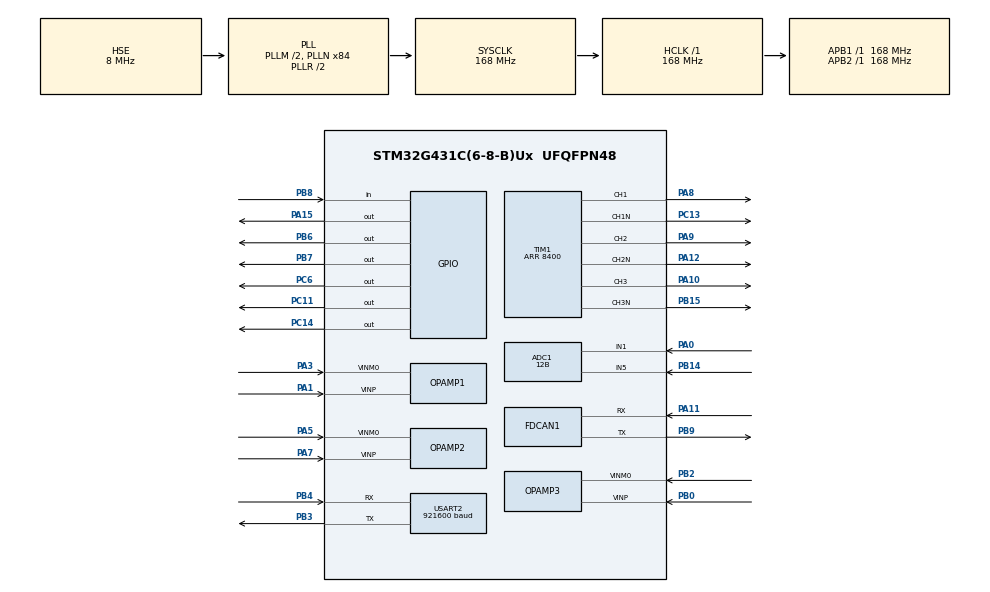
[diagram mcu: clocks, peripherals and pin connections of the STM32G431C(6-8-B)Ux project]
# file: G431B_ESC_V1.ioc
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ADC1.Channel-2\#ChannelRegularConversion=ADC_CHANNEL_VOPAMP1
ADC1.Channel-3\#ChannelRegularConversion=ADC_CHANNEL_1
ADC1.Channel-4\#ChannelRegularConversion=ADC_CHANNEL_5
ADC1.ContinuousConvMode=DISABLE
ADC1.DMAContinuousRequests=DISABLE
ADC1.EOCSelection=ADC_EOC_SEQ_CONV
ADC1.EnableInjectedConversion=DISABLE
ADC1.EnableRegularConversion=ENABLE
ADC1.ExternalTrigConv=ADC_SOFTWARE_START
ADC1.Mode=ADC_MODE_INDEPENDENT
ADC1.NbrOfConversion=3
ADC1.NbrOfConversionFlag=1
ADC1.OffsetNumber-2\#ChannelRegularConversion=ADC_OFFSET_NONE
ADC1.OffsetNumber-3\#ChannelRegularConversion=ADC_OFFSET_NONE
ADC1.OffsetNumber-4\#ChannelRegularConversion=ADC_OFFSET_NONE
ADC1.Overrun=ADC_OVR_DATA_OVERWRITTEN
ADC1.Rank-2\#ChannelRegularConversion=1
ADC1.Rank-3\#ChannelRegularConversion=2
ADC1.Rank-4\#ChannelRegularConversion=3
ADC1.Resolution=ADC_RESOLUTION_12B
ADC1.SamplingTime-2\#ChannelRegularConversion=ADC_SAMPLETIME_2CYCLES_5
ADC1.SamplingTime-3\#ChannelRegularConversion=ADC_SAMPLETIME_2CYCLES_5
ADC1.SamplingTime-4\#ChannelRegularConversion=ADC_SAMPLETIME_2CYCLES_5
ADC1.master=1
ADC2.Channel-0\#ChannelRegularConversion=ADC_CHANNEL_VOPAMP2
ADC2.Channel-1\#ChannelRegularConversion=ADC_CHANNEL_VOPAMP3_ADC2
ADC2.ContinuousConvMode=DISABLE
ADC2.DMAContinuousRequests=DISABLE
ADC2.EOCSelection=ADC_EOC_SEQ_CONV
ADC2.EnableInjectedConversion=DISABLE
ADC2.ExternalTrigConv=ADC_SOFTWARE_START
ADC2.NbrOfConversion=2
ADC2.NbrOfConversionFlag=1
ADC2.OffsetNumber-0\#ChannelRegularConversion=ADC_OFFSET_NONE
ADC2.OffsetNumber-1\#ChannelRegularConversion=ADC_OFFSET_NONE
ADC2.Overrun=ADC_OVR_DATA_OVERWRITTEN
ADC2.Rank-0\#ChannelRegularConversion=1
ADC2.Rank-1\#ChannelRegularConversion=2
ADC2.Rank1_Channel=ADC_CHANNEL_VOPAMP2
ADC2.Rank2_Channel=ADC_CHANNEL_VOPAMP3_ADC2
ADC2.SamplingTime-0\#ChannelRegularConversion=ADC_SAMPLETIME_2CYCLES_5
ADC2.SamplingTime-1\#ChannelRegularConversion=ADC_SAMPLETIME_2CYCLES_5
Dma.ADC1.0.Direction=DMA_PERIPH_TO_MEMORY
Dma.ADC1.0.EventEnable=DISABLE
Dma.ADC1.0.Instance=DMA1_Channel1
Dma.ADC1.0.MemDataAlignment=DMA_MDATAALIGN_HALFWORD
Dma.ADC1.0.MemInc=DMA_MINC_ENABLE
Dma.ADC1.0.Mode=DMA_NORMAL
Dma.ADC1.0.PeriphDataAlignment=DMA_PDATAALIGN_HALFWORD
Dma.ADC1.0.PeriphInc=DMA_PINC_DISABLE
Dma.ADC1.0.Polarity=HAL_DMAMUX_REQ_GEN_RISING
Dma.ADC1.0.Priority=DMA_PRIORITY_LOW
Dma.ADC1.0.RequestNumber=1
Dma.ADC1.0.SignalID=NONE
Dma.ADC1.0.SyncEnable=DISABLE
Dma.ADC1.0.SyncPolarity=HAL_DMAMUX_SYNC_NO_EVENT
Dma.ADC1.0.SyncRequestNumber=1
Dma.ADC1.0.SyncSignalID=NONE
Dma.ADC2.1.Direction=DMA_PERIPH_TO_MEMORY
Dma.ADC2.1.EventEnable=DISABLE
Dma.ADC2.1.Instance=DMA1_Channel2
Dma.ADC2.1.MemDataAlignment=DMA_MDATAALIGN_HALFWORD
Dma.ADC2.1.MemInc=DMA_MINC_ENABLE
Dma.ADC2.1.Mode=DMA_NORMAL
Dma.ADC2.1.PeriphDataAlignment=DMA_PDATAALIGN_HALFWORD
Dma.ADC2.1.PeriphInc=DMA_PINC_DISABLE
Dma.ADC2.1.Polarity=HAL_DMAMUX_REQ_GEN_RISING
Dma.ADC2.1.Priority=DMA_PRIORITY_LOW
Dma.ADC2.1.RequestNumber=1
Dma.ADC2.1.SignalID=NONE
Dma.ADC2.1.SyncEnable=DISABLE
Dma.ADC2.1.SyncPolarity=HAL_DMAMUX_SYNC_NO_EVENT
Dma.ADC2.1.SyncRequestNumber=1
Dma.ADC2.1.SyncSignalID=NONE
Dma.Request0=ADC1
Dma.Request1=ADC2
FDCAN1.AutoRetransmission=ENABLE
FDCAN1.ClockDivider=FDCAN_CLOCK_DIV4
FDCAN1.NominalPrescaler=3
FDCAN1.NominalTimeSeg1=11
FDCAN1.StdFiltersNbr=1
FDCAN1.TransmitPause=ENABLE
Mcu.Family=STM32G4
Mcu.Name=STM32G431C(6-8-B)Ux
Mcu.Package=UFQFPN48
NVIC.DMA1_Channel1_IRQn=true\:0\:0\:false\:false\:true\:false\:true\:true
NVIC.DMA1_Channel2_IRQn=true\:0\:0\:false\:false\:true\:false\:true\:true
NVIC.PriorityGroup=NVIC_PRIORITYGROUP_4
NVIC.TIM1_UP_TIM16_IRQn=true\:0\:0\:false\:false\:true\:true\:true\:true
NVIC.USART2_IRQn=true\:0\:0\:false\:false\:true\:true\:true\:true
OPAMP1.PgaGain=OPAMP_PGA_GAIN_16_OR_MINUS_15
OPAMP1.PowerMode=OPAMP_POWERMODE_HIGHSPEED
OPAMP2.PgaGain=OPAMP_PGA_GAIN_16_OR_MINUS_15
OPAMP2.PowerMode=OPAMP_POWERMODE_HIGHSPEED
OPAMP3.PgaGain=OPAMP_PGA_GAIN_16_OR_MINUS_15
OPAMP3.PowerMode=OPAMP_POWERMODE_HIGHSPEED
PA0.Mode=IN1-Single-Ended
PA0.Signal=ADC1_IN1
PA1.Mode=PGA Internally connected_IO0_BIAS
PA1.Signal=OPAMP1_VINP
PA10.Signal=S_TIM1_CH3
PA11.Mode=FDCAN_Activate
PA11.Signal=FDCAN1_RX
PA12.Mode=PWM Generation2 CH2 CH2N
PA12.Signal=TIM1_CH2N
PA15.Signal=GPIO_Output
PA3.Mode=PGA Internally connected_IO0_BIAS
PA3.Signal=OPAMP1_VINM0
PA5.Mode=PGA Internally connected_IO0_BIAS
PA5.Signal=OPAMP2_VINM0
PA7.Mode=PGA Internally connected_IO0_BIAS
PA7.Signal=OPAMP2_VINP
PA8.Signal=S_TIM1_CH1
PA9.Signal=S_TIM1_CH2
PB0.Mode=PGA Internally connected_IO0_BIAS
PB0.Signal=OPAMP3_VINP
PB14.Mode=IN5-Single-Ended
PB14.Signal=ADC1_IN5
PB15.Mode=PWM Generation3 CH3 CH3N
PB15.Signal=TIM1_CH3N
PB2.Mode=PGA Internally connected_IO0_BIAS
PB2.Signal=OPAMP3_VINM0
PB3.Mode=Asynchronous
PB3.Signal=USART2_TX
PB4.Mode=Asynchronous
PB4.Signal=USART2_RX
PB6.Signal=GPIO_Output
PB7.Signal=GPIO_Output
PB8-BOOT0.Signal=GPIO_Input
PB9.Mode=FDCAN_Activate
PB9.Signal=FDCAN1_TX
PC11.Signal=GPIO_Output
PC13.Mode=PWM Generation1 CH1 CH1N
PC13.Signal=TIM1_CH1N
PC14-OSC32_IN.Signal=GPIO_Output
PC6.Signal=GPIO_Output
PF0-OSC_IN.Mode=HSE-External-Oscillator
PF0-OSC_IN.Signal=RCC_OSC_IN
PF1-OSC_OUT.Mode=HSE-External-Oscillator
PF1-OSC_OUT.Signal=RCC_OSC_OUT
ProjectManager.HeapSize=0x200
ProjectManager.StackSize=0x400
ProjectManager.TargetToolchain=STM32CubeIDE
RCC.ADC12Freq_Value=168000000
RCC.AHBFreq_Value=168000000
RCC.APB1Freq_Value=168000000
RCC.APB1TimFreq_Value=168000000
RCC.APB2Freq_Value=168000000
RCC.APB2TimFreq_Value=168000000
RCC.CortexFreq_Value=168000000
RCC.EXTERNAL_CLOCK_VALUE=12288000
RCC.HCLKFreq_Value=168000000
RCC.HSE_VALUE=8000000
RCC.HSI48_VALUE=48000000
RCC.HSI_VALUE=16000000
RCC.LSE_VALUE=32768
RCC.PLLM=RCC_PLLM_DIV2
RCC.PLLN=84
RCC.PLLSourceVirtual=RCC_PLLSOURCE_HSE
RCC.SYSCLKFreq_VALUE=168000000
RCC.SYSCLKSource=RCC_SYSCLKSOURCE_PLLCLK
RCC.USBFreq_Value=168000000
RCC.VCOOutputFreq_Value=336000000
SH.S_TIM1_CH1.0=TIM1_CH1,PWM Generation1 CH1 CH1N
SH.S_TIM1_CH2.0=TIM1_CH2,PWM Generation2 CH2 CH2N
SH.S_TIM1_CH3.0=TIM1_CH3,PWM Generation3 CH3 CH3N
TIM1.AutoReloadPreload=TIM_AUTORELOAD_PRELOAD_ENABLE
TIM1.Channel-PWM\ Generation1\ CH1\ CH1N=TIM_CHANNEL_1
TIM1.Channel-PWM\ Generation2\ CH2\ CH2N=TIM_CHANNEL_2
TIM1.Channel-PWM\ Generation3\ CH3\ CH3N=TIM_CHANNEL_3
TIM1.CounterMode=TIM_COUNTERMODE_CENTERALIGNED1
TIM1.DeadTime=100
TIM1.DeadTimePreload=ENABLE
TIM1.OC2Preload_PWM=ENABLE
TIM1.OCFastMode_PWM-PWM\ Generation1\ CH1\ CH1N=TIM_OCFAST_ENABLE
TIM1.OCFastMode_PWM-PWM\ Generation2\ CH2\ CH2N=TIM_OCFAST_ENABLE
TIM1.OCFastMode_PWM-PWM\ Generation3\ CH3\ CH3N=TIM_OCFAST_ENABLE
TIM1.OCMode_PWM-PWM\ Generation1\ CH1\ CH1N=TIM_OCMODE_PWM1
TIM1.OCMode_PWM-PWM\ Generation2\ CH2\ CH2N=TIM_OCMODE_PWM1
TIM1.OCMode_PWM-PWM\ Generation3\ CH3\ CH3N=TIM_OCMODE_PWM1
TIM1.OCNPolarity_1=TIM_OCNPOLARITY_LOW
TIM1.OCNPolarity_2=TIM_OCNPOLARITY_LOW
TIM1.OCNPolarity_3=TIM_OCNPOLARITY_LOW
TIM1.OCPolarity_1=TIM_OCPOLARITY_LOW
TIM1.OCPolarity_2=TIM_OCPOLARITY_LOW
TIM1.OCPolarity_3=TIM_OCPOLARITY_LOW
TIM1.OffStateIDLEMode=TIM_OSSI_ENABLE
TIM1.OffStateRunMode=TIM_OSSR_ENABLE
TIM1.PeriodNoDither=8400
TIM1.RepetitionCounter=1
TIM1.TIM_MasterOutputTrigger=TIM_TRGO_RESET
USART2.BaudRate=921600
USART2.VirtualMode-Asynchronous=VM_ASYNC
VP_ADC1_OPAMP_INTERNAL1.Mode=IN-OPAMP1
VP_ADC2_OPAMP_INTERNAL2.Mode=IN-OPAMP2
VP_ADC2_OPAMP_INTERNAL3.Mode=IN-OPAMP3
VP_SYS_VS_DBSignals.Mode=DisableDeadBatterySignals
VP_TIM1_VS_ClockSourceINT.Mode=Internal
board=custom

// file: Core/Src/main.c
/* USER CODE BEGIN Header */
/**
  ******************************************************************************
  * @file           : main.c
  * @brief          : Main program body
  ******************************************************************************
  * @attention
  *
  * <h2><center>&copy; Copyright (c) 2023 STMicroelectronics.
  * All rights reserved.</center></h2>
  *
  * This software component is licensed by ST under BSD 3-Clause license,
  * the "License"; You may not use this file except in compliance with the
  * License. You may obtain a copy of the License at:
  *                        opensource.org/licenses/BSD-3-Clause
  *
  ******************************************************************************
  */
/* USER CODE END Header */
#include "main.h"
#include "adc.h"
#include "dma.h"
#include "fdcan.h"
#include "opamp.h"
#include "tim.h"
#include "usart.h"
#include "gpio.h"

/* USER CODE BEGIN Includes */
#include <stdio.h>
#include <string.h>
#include "user_config.h"
#include "hw_config.h"
#include "structs.h"
#include "position_sensor.h"
#include "fsm.h"
#include "gatedrive.h"
#include "foc.h"
#include "math_ops.h"
#include "calibration.h"
/* USER CODE END Includes */

/* USER CODE BEGIN PM */
#define VERSION_NUM 1.0f
/* USER CODE END PM */

/* USER CODE BEGIN PV */
/* Structs for control, etc */

ControllerStruct controller;
ObserverStruct observer;
COMStruct com;
FSMStruct state;
EncoderStruct comm_encoder;
CalStruct comm_encoder_cal;
CANTxMessage can_tx;
CANRxMessage can_rx;

ControllerStruct dummy;

/* init but don't allocate calibration arrays */
int *error_array = NULL;
int *lut_array = NULL;

uint8_t Serial2RxBuffer[1];
float __float_reg[FLOAT_REG_LEN];
int __int_reg[INT_REG_LEN];
/* USER CODE END PV */

void SystemClock_Config(void);

int main(void)
{

  /* MCU Configuration--------------------------------------------------------*/

  /* Reset of all peripherals, Initializes the Flash interface and the Systick. */
  HAL_Init();

  /* Configure the system clock */
  SystemClock_Config();

  /* USER CODE BEGIN SysInit */
	HAL_Delay(100);
  /* USER CODE END SysInit */

  /* Initialize all configured peripherals */
  MX_GPIO_Init();
  MX_DMA_Init();
  MX_USART2_UART_Init();
  MX_TIM1_Init();
  MX_OPAMP1_Init();
  MX_OPAMP2_Init();
  MX_OPAMP3_Init();
  MX_ADC1_Init();
  MX_ADC2_Init();
  MX_FDCAN1_Init();
  /* USER CODE BEGIN 2 */
	load_eeprom_regs();
	/* Sanitize configs in case flash is empty*/
	if(E_ZERO==-1){E_ZERO = 0;}
	if(isnan(I_BW) || I_BW==-1){I_BW = 1000;}
	if(isnan(I_MAX) || I_MAX ==-1){I_MAX=40;}
	if(isnan(I_FW_MAX) || I_FW_MAX ==-1){I_FW_MAX=0;}
	if(CAN_ID==-1){CAN_ID = 1;}
	if(CAN_MASTER==-1){CAN_MASTER = 0;}
	if(CAN_TIMEOUT==-1){CAN_TIMEOUT = 0;}
	if(isnan(R_NOMINAL) || R_NOMINAL==-1){R_NOMINAL = 0.0f;}
	if(isnan(TEMP_MAX) || TEMP_MAX==-1){TEMP_MAX = 125.0f;}
	if(isnan(I_MAX_CONT) || I_MAX_CONT==-1){I_MAX_CONT = 14.0f;}
	if(isnan(I_CAL)||I_CAL==-1){I_CAL = 5.0f;}
	if(isnan(PPAIRS) || PPAIRS==-1){PPAIRS = 21.0f;}
	if(isnan(GR) || GR==-1){GR = 1.0f;}
	if(isnan(KT) || KT==-1){KT = 1.0f;}
	if(isnan(KP_MAX) || KP_MAX==-1){KP_MAX = 500.0f;}
	if(isnan(KD_MAX) || KD_MAX==-1){KD_MAX = 5.0f;}
	if(isnan(P_MAX)){P_MAX = 12.5f;}
	if(isnan(P_MIN)){P_MIN = -12.5f;}
	if(isnan(V_MAX)){V_MAX = 200.0f;}
	if(isnan(V_MIN)){V_MIN = -200.0f;}
	if(isnan(MECH_ZERO)){MECH_ZERO = 0.0f;}
	if(isnan(T_MAX)){T_MAX = 10.0f;}

	printf("\r\nFirmware Version Number: %.2f\r\n", VERSION_NUM);
	/* Controller Setup */
	init_controller_params(&controller);

	/* calibration "encoder" zeroing */
	memset(&comm_encoder_cal.cal_position, 0, sizeof(EncoderStruct));

	/* commutation encoder setup */
	comm_encoder.e_zero = E_ZERO;
	comm_encoder.ppairs = PPAIRS;
	comm_encoder.mech_zero = MECH_ZERO;
	ps_warmup(&comm_encoder, 100);			// clear the noisy data when the encoder first turns on
	ps_sample(&comm_encoder, DT);
	ps_sample(&comm_encoder, DT);
	ps_sample(&comm_encoder, DT);
	if(comm_encoder.angle_multiturn[0]>PI_F){
	comm_encoder.angle_multiturn[0]-=TWO_PI_F;
	comm_encoder.turns--;
	printf("Added\r\n");
	}
	else if(comm_encoder.angle_multiturn[0]<-PI_F){
	comm_encoder.angle_multiturn[0] += TWO_PI_F;
	comm_encoder.turns++;
	printf("Subtracted\r\n");
	}

	if(EN_ENC_LINEARIZATION){memcpy(&comm_encoder.offset_lut, &ENCODER_LUT, sizeof(comm_encoder.offset_lut));}	// Copy the linearization lookup table
	else{memset(&comm_encoder.offset_lut, 0, sizeof(comm_encoder.offset_lut));}

	/* Turn on ADCs */
	HAL_OPAMP_Start(&hopamp1);
	HAL_OPAMP_Start(&hopamp2);
	HAL_OPAMP_Start(&hopamp3);
	HAL_ADC_Start_DMA(&hadc1, (uint32_t *)controller.ADC1_Val, 2);
	HAL_ADC_Start_DMA(&hadc2, (uint32_t *)controller.ADC2_Val, 2);

	disable_gd(&controller);
	HAL_Delay(10);

	zero_current(&controller);
	HAL_Delay(100);
	printf("ADC A OFFSET: %d     ADC B OFFSET: %d     ADC C OFFSET: %d\r\n", controller.adc_a_offset, controller.adc_b_offset, controller.adc_c_offset);
	printf("Vbus: %f\r\n",controller.v_bus);
	/* Turn on PWM */
	HAL_TIM_PWM_Start(&htim1, TIM_CHANNEL_1);
	HAL_TIM_PWM_Start(&htim1, TIM_CHANNEL_2);
	HAL_TIM_PWM_Start(&htim1, TIM_CHANNEL_3);
	HAL_TIMEx_PWMN_Start(&htim1, TIM_CHANNEL_1);
	HAL_TIMEx_PWMN_Start(&htim1, TIM_CHANNEL_2);
	HAL_TIMEx_PWMN_Start(&htim1, TIM_CHANNEL_3);

//	HAL_TIM_PWM_Start(&htim4, TIM_CHANNEL_1);
//	htim4.Instance->CCR1 = ((htim4.Instance->ARR))*(0.5f);
	HAL_GPIO_WritePin(ENC_SPI_CLK, GPIO_PIN_SET); //CS High
	HAL_GPIO_WritePin(ENC_SPI_CS, GPIO_PIN_SET); //CS High

	disable_gd(&controller);

	/* CAN setup */
	HAL_GPIO_WritePin(CAN_SHDWN, GPIO_PIN_RESET); //Enable CAN
	HAL_GPIO_WritePin(CAN_TERM, GPIO_PIN_RESET ); //Disable CAN termination resistor

	can_rx_init(&can_rx);
	can_tx_init(&can_tx);

	HAL_FDCAN_Start(&CAN_H); //start CAN

	/* Set Interrupt Priorities */
	NVIC_SetPriority(PWM_ISR, 1);

	/* Start the FSM */
	state.state = MENU_MODE;
	state.next_state = MENU_MODE;
	state.ready = 1;

	HAL_UART_Receive_IT(&huart2, (uint8_t *)Serial2RxBuffer, 1);
	HAL_TIM_Base_Start_IT(&htim1);
  /* USER CODE END 2 */

  /* Infinite loop */
  while (1)
  {

    /* USER CODE BEGIN 3 */
//	printf("A:%f B:%f C:%f V:%f \r\n",controller.i_a, controller.i_b, controller.i_c, controller.v_bus);
//	  printf("%f %f\r\n",controller.i_q, controller.i_q_des);
		static float const R60 = 4700.0f; // ohm
		static float const eps = 0.1f; // epsilon (avoid divide by zero)
		float const R_NTC = R60*(4096.0f/(controller.ADC1_Val[2]+eps)-1.0f); // 10kohm NTC at 25°C
		static float const Beta = 3455.0f; // for a 10k NTC
		static float const Kelvin = 273.15f; //°C
		static float const T0 = 273.15f + 25.0f;
		static float const R0 = 10000.0f; // 10kohm at 25° for 10k NTC
		float const present_temperature_K = Beta * T0 / ( Beta - T0*logf(R0/R_NTC) );
		controller.fet_temp_C = present_temperature_K-Kelvin;
//		printf("%f\r\n",controller.fet_temp_C);
//	  if(controller.isEnabled){
//	  printf("%.3f %.3f %.3f %.3f %.3f\r\n", controller.p_des, controller.theta_mech, controller.dtheta_mech, controller.i_q_des, controller.i_q);
//	  }
//	  HAL_Delay(10);
  }
  /* USER CODE END 3 */
}

void SystemClock_Config(void)
{
  RCC_OscInitTypeDef RCC_OscInitStruct = {0};
  RCC_ClkInitTypeDef RCC_ClkInitStruct = {0};
  RCC_PeriphCLKInitTypeDef PeriphClkInit = {0};

  /** Configure the main internal regulator output voltage
  */
  HAL_PWREx_ControlVoltageScaling(PWR_REGULATOR_VOLTAGE_SCALE1_BOOST);
  /** Initializes the RCC Oscillators according to the specified parameters
  * in the RCC_OscInitTypeDef structure.
  */
  RCC_OscInitStruct.OscillatorType = RCC_OSCILLATORTYPE_HSE;
  RCC_OscInitStruct.HSEState = RCC_HSE_ON;
  RCC_OscInitStruct.PLL.PLLState = RCC_PLL_ON;
  RCC_OscInitStruct.PLL.PLLSource = RCC_PLLSOURCE_HSE;
  RCC_OscInitStruct.PLL.PLLM = RCC_PLLM_DIV2;
  RCC_OscInitStruct.PLL.PLLN = 84;
  RCC_OscInitStruct.PLL.PLLP = RCC_PLLP_DIV2;
  RCC_OscInitStruct.PLL.PLLQ = RCC_PLLQ_DIV2;
  RCC_OscInitStruct.PLL.PLLR = RCC_PLLR_DIV2;
  if (HAL_RCC_OscConfig(&RCC_OscInitStruct) != HAL_OK)
  {
    Error_Handler();
  }
  /** Initializes the CPU, AHB and APB buses clocks
  */
  RCC_ClkInitStruct.ClockType = RCC_CLOCKTYPE_HCLK|RCC_CLOCKTYPE_SYSCLK
                              |RCC_CLOCKTYPE_PCLK1|RCC_CLOCKTYPE_PCLK2;
  RCC_ClkInitStruct.SYSCLKSource = RCC_SYSCLKSOURCE_PLLCLK;
  RCC_ClkInitStruct.AHBCLKDivider = RCC_SYSCLK_DIV1;
  RCC_ClkInitStruct.APB1CLKDivider = RCC_HCLK_DIV1;
  RCC_ClkInitStruct.APB2CLKDivider = RCC_HCLK_DIV1;

  if (HAL_RCC_ClockConfig(&RCC_ClkInitStruct, FLASH_LATENCY_4) != HAL_OK)
  {
    Error_Handler();
  }
  /** Initializes the peripherals clocks
  */
  PeriphClkInit.PeriphClockSelection = RCC_PERIPHCLK_USART2|RCC_PERIPHCLK_ADC12
                              |RCC_PERIPHCLK_FDCAN;
  PeriphClkInit.Usart2ClockSelection = RCC_USART2CLKSOURCE_PCLK1;
  PeriphClkInit.FdcanClockSelection = RCC_FDCANCLKSOURCE_PCLK1;
  PeriphClkInit.Adc12ClockSelection = RCC_ADC12CLKSOURCE_SYSCLK;
  if (HAL_RCCEx_PeriphCLKConfig(&PeriphClkInit) != HAL_OK)
  {
    Error_Handler();
  }
}

void Error_Handler(void)
{
  __disable_irq();
  while (1)
  {
  }
}

/************************ (C) COPYRIGHT STMicroelectronics *****END OF FILE****/
